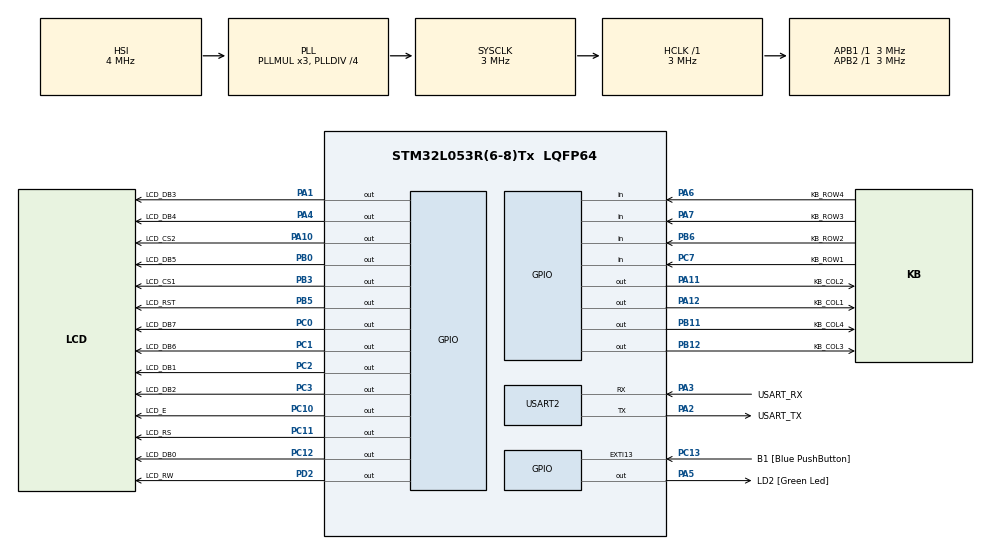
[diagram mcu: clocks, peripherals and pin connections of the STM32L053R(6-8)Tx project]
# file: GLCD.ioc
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Mcu.Family=STM32L0
Mcu.Name=STM32L053R(6-8)Tx
Mcu.Package=LQFP64
PA1.GPIO_Label=LCD_DB3
PA1.Signal=GPIO_Output
PA10.GPIO_Label=LCD_CS2
PA10.Signal=GPIO_Output
PA11.GPIO_Label=KB_COL2
PA11.Signal=GPIO_Output
PA12.GPIO_Label=KB_COL1
PA12.Signal=GPIO_Output
PA13.GPIO_Label=TMS
PA13.Mode=Serial_Wire
PA13.Signal=SYS_SWDIO
PA14.GPIO_Label=TCK
PA14.Mode=Serial_Wire
PA14.Signal=SYS_SWCLK
PA2.GPIO_Label=USART_TX
PA2.Mode=Asynchronous
PA2.Signal=USART2_TX
PA3.GPIO_Label=USART_RX
PA3.Mode=Asynchronous
PA3.Signal=USART2_RX
PA4.GPIO_Label=LCD_DB4
PA4.Signal=GPIO_Output
PA5.GPIO_Label=LD2 [Green Led]
PA5.Signal=GPIO_Output
PA6.GPIO_Label=KB_ROW4
PA6.GPIO_PuPd=GPIO_PULLDOWN
PA6.Signal=GPIO_Input
PA7.GPIO_Label=KB_ROW3
PA7.GPIO_PuPd=GPIO_PULLDOWN
PA7.Signal=GPIO_Input
PB0.GPIO_Label=LCD_DB5
PB0.Signal=GPIO_Output
PB11.GPIO_Label=KB_COL4
PB11.Signal=GPIO_Output
PB12.GPIO_Label=KB_COL3
PB12.Signal=GPIO_Output
PB3.GPIO_Label=LCD_CS1
PB3.Signal=GPIO_Output
PB5.GPIO_Label=LCD_RST
PB5.Signal=GPIO_Output
PB6.GPIO_Label=KB_ROW2
PB6.GPIO_PuPd=GPIO_PULLDOWN
PB6.Signal=GPIO_Input
PC0.GPIO_Label=LCD_DB7
PC0.Signal=GPIO_Output
PC1.GPIO_Label=LCD_DB6
PC1.Signal=GPIO_Output
PC10.GPIO_Label=LCD_E
PC10.Signal=GPIO_Output
PC11.GPIO_Label=LCD_RS
PC11.Signal=GPIO_Output
PC12.GPIO_Label=LCD_DB0
PC12.Signal=GPIO_Output
PC13.GPIO_Label=B1 [Blue PushButton]
PC13.GPIO_ModeDefaultEXTI=GPIO_MODE_IT_FALLING
PC13.Signal=GPXTI13
PC14-OSC32_IN.Mode=LSE-External-Oscillator
PC14-OSC32_IN.Signal=RCC_OSC32_IN
PC15-OSC32_OUT.Mode=LSE-External-Oscillator
PC15-OSC32_OUT.Signal=RCC_OSC32_OUT
PC2.GPIO_Label=LCD_DB1
PC2.Signal=GPIO_Output
PC3.GPIO_Label=LCD_DB2
PC3.Signal=GPIO_Output
PC7.GPIO_Label=KB_ROW1
PC7.GPIO_PuPd=GPIO_PULLDOWN
PC7.Signal=GPIO_Input
PD2.GPIO_Label=LCD_RW
PD2.Signal=GPIO_Output
PH0-OSC_IN.Mode=HSE-External-Clock-Source
PH0-OSC_IN.Signal=RCC_OSC_IN
PH1-OSC_OUT.Signal=RCC_OSC_OUT
ProjectManager.HeapSize=0x200
ProjectManager.StackSize=0x400
ProjectManager.TargetToolchain=MDK-ARM V5.27
RCC.ADCFreq_Value=4000000
RCC.AHBFreq_Value=3000000
RCC.APB1Freq_Value=3000000
RCC.APB1TimFreq_Value=3000000
RCC.APB2Freq_Value=3000000
RCC.APB2TimFreq_Value=3000000
RCC.HCLKFreq_Value=3000000
RCC.HSE_VALUE=8000000
RCC.HSI16_VALUE=16000000
RCC.HSI48_VALUE=48000000
RCC.HSIRCDiv=4
RCC.HSI_VALUE=4000000
RCC.MSI_VALUE=2097000
RCC.PLLDIV=RCC_PLLDIV_4
RCC.SYSCLKFreq_VALUE=3000000
RCC.SYSCLKSource=RCC_SYSCLKSOURCE_PLLCLK
RCC.VCOOutputFreq_Value=12000000
USART2.VirtualMode-Asynchronous=VM_ASYNC
board=NUCLEO-L053R8

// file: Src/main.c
/* USER CODE BEGIN Header */
/**
  ******************************************************************************
  * @file           : main.c
  * @brief          : Main program body
  ******************************************************************************
  * @attention
  *
  * <h2><center>&copy; Copyright (c) 2021 STMicroelectronics.
  * All rights reserved.</center></h2>
  *
  * This software component is licensed by ST under BSD 3-Clause license,
  * the "License"; You may not use this file except in compliance with the
  * License. You may obtain a copy of the License at:
  *                        opensource.org/licenses/BSD-3-Clause
  *
  ******************************************************************************
  */
/* USER CODE END Header */

#include "main.h"
#include "usart.h"
#include "gpio.h"

/* USER CODE BEGIN PD */
#define INSTRUCTION 			0
#define DATA 							1
#define RESET 						GPIO_PIN_RESET
#define SET 							GPIO_PIN_SET
#define PAGE0 						0
#define PAGE1							1
#define ON	 							1
#define OFF 							0
/* USER CODE END PD */

/* USER CODE BEGIN PV */
uint8_t loadingImage_bgBlack [8][128] = {
    {0x00, 0xfe, 0xfe, 0x06, 0x06, 0x06, 0x06, 0x06, 0x06, 0x06, 0x06, 0x06, 0x06, 0x06, 0x06, 0x06, 0x06, 0x06, 0x06, 0x06, 0x06, 0x06, 0x06, 0x06, 0x06, 0x06, 0x06, 0x06, 0x06, 0x06, 0x06, 0x06,0x06, 0x06, 0x06, 0x06, 0x06, 0x06, 0x06, 0x06, 0x06, 0x06, 0x06, 0x06, 0x06, 0x06, 0x06, 0x06, 0x06, 0x06, 0x06, 0x06, 0x06, 0x06, 0x06, 0x06, 0x06, 0x06, 0x06, 0x06, 0x06, 0x06, 0x06, 0x06, 0x06, 0x06, 0x06, 0x06, 0x06, 0x06, 0x06, 0x06, 0x06, 0x06, 0x06, 0x06, 0x06, 0x06, 0x06, 0x06, 0x06, 0x06, 0x06, 0x06, 0x06, 0x06, 0x06, 0x06, 0x06, 0x06, 0x06, 0x06, 0x06, 0x06, 0x06, 0x06, 0x06, 0x06, 0x06, 0x06, 0x06, 0x06, 0x06, 0x06, 0x06, 0x06, 0x06, 0x06, 0x06, 0x06, 0x06, 0x06, 0x06, 0x06, 0x06, 0x06, 0x06, 0x06, 0x06, 0x06, 0x06, 0x06, 0x06, 0x06, 0x06, 0xfe, 0xfe, 0x00},
    {0x00, 0xff, 0xff, 0x00, 0x00, 0x00, 0x00, 0x00, 0x00, 0x00, 0x00, 0x00, 0x00, 0x00, 0x00, 0x00, 0x00, 0x00, 0x00, 0x00, 0x00, 0x00, 0x00, 0x00, 0x00, 0x00, 0x00, 0x00, 0x00, 0x00, 0x00, 0x00, 0x00, 0x00, 0x00, 0x00, 0x00, 0x00, 0x00, 0x00, 0x00, 0x00, 0x00, 0x00, 0x00, 0x00, 0x00, 0x00, 0x00, 0x00, 0x00, 0x00, 0x00, 0x00, 0x00, 0x00, 0x00, 0x00, 0x00, 0x00, 0x00, 0x00, 0x00, 0x00, 0x00, 0x00, 0x00, 0x00, 0x00, 0x00, 0x00, 0x00, 0x00, 0x00, 0x00, 0x00, 0x00, 0x00, 0x00, 0x00, 0x00, 0x00, 0x00, 0x00, 0x00, 0x00, 0x00, 0x00, 0x00, 0x00, 0x00, 0x00, 0x00, 0x00, 0x00, 0x00, 0x00, 0x00, 0x00, 0x00, 0x00, 0x00, 0x00, 0x00, 0x00, 0x00, 0x00, 0x00, 0x00, 0x00, 0x00, 0x00, 0x00, 0x00, 0x00, 0x00, 0x00, 0x00, 0x00, 0x00, 0x00, 0x00, 0x00, 0x00, 0x00, 0xff, 0xff, 0x00},
    {0x00, 0xff, 0xff, 0x00, 0x00, 0x00, 0x00, 0x00, 0x00, 0x00, 0x00, 0x00, 0x00, 0x00, 0x00, 0x00, 0x00, 0x00, 0x00, 0x00, 0x00, 0x00, 0x00, 0x00, 0x00, 0x00, 0x00, 0x00, 0x00, 0x00, 0x00, 0x00, 0x00, 0x00, 0x00, 0x00, 0x00, 0x00, 0x00, 0x00, 0x00, 0x00, 0x00, 0x00, 0x00, 0x00, 0x00, 0x00, 0x00, 0x00, 0x00, 0x00, 0x00, 0x00, 0x00, 0x00, 0x00, 0x00, 0x00, 0x00, 0x00, 0x00, 0x00, 0x00, 0x00, 0x00, 0x00, 0x00, 0x00, 0x00, 0x00, 0x00, 0x00, 0x00, 0x00, 0x00, 0x00, 0x00, 0x00, 0x00, 0x00, 0x00, 0x00, 0x00, 0x00, 0x00, 0x00, 0x00, 0x00, 0x00, 0x00, 0x00, 0x00, 0x00, 0x00, 0x00, 0x00, 0x00, 0x00, 0x00, 0x00, 0x00, 0x00, 0x00, 0x00, 0x00, 0x00, 0x00, 0x00, 0x00, 0x00, 0x00, 0x00, 0x00, 0x00, 0x00, 0x00, 0x00, 0x00, 0x00, 0x00, 0x00, 0x00, 0x00, 0x00, 0xff, 0xff, 0x00},
    {0x00, 0xff, 0xff, 0x00, 0x00, 0x00, 0x00, 0x00, 0x00, 0x00, 0x00, 0x00, 0x00, 0x00, 0x00, 0x00, 0x00, 0x00, 0x00, 0x00, 0x00, 0x00, 0x00, 0x00, 0x00, 0x00, 0x00, 0x00, 0x00, 0x00, 0x00, 0x00, 0x00, 0x00, 0x00, 0x00, 0x00, 0x00, 0x00, 0x00, 0x00, 0x00, 0x00, 0x00, 0x00, 0x00, 0x00, 0x00, 0x00, 0x00, 0x00, 0x00, 0x00, 0x00, 0x00, 0x00, 0x00, 0x00, 0x00, 0x00, 0x00, 0x00, 0x00, 0x00, 0x00, 0x00, 0x00, 0x00, 0x00, 0x00, 0x00, 0x00, 0x00, 0x00, 0x00, 0x00, 0x00, 0x00, 0x00, 0x00, 0x00, 0x00, 0x00, 0x00, 0x00, 0x00, 0x00, 0x00, 0x00, 0x00, 0x00, 0x00, 0x00, 0x00, 0x00, 0x00, 0x00, 0x00, 0x00, 0x00, 0x00, 0x00, 0x00, 0x00, 0x00, 0x00, 0x00, 0x00, 0x00, 0x00, 0x00, 0x00, 0x00, 0x00, 0x00, 0x00, 0x00, 0x00, 0x00, 0x00, 0x00, 0x00, 0x00, 0x00, 0x00, 0xff, 0xff, 0x00},
    {0x00, 0xff, 0xff, 0x00, 0x00, 0x00, 0x00, 0x00, 0x00, 0x00, 0x00, 0x00, 0x00, 0x00, 0x00, 0x00, 0x00, 0x00, 0x00, 0x00, 0x00, 0x00, 0x00, 0x00, 0x00, 0x00, 0x00, 0x00, 0x00, 0x00, 0x00, 0x00, 0x00, 0x00, 0x00, 0x00, 0x00, 0x00, 0x00, 0x00, 0x00, 0x00, 0x00, 0x00, 0x00, 0x00, 0x00, 0x00, 0x00, 0x00, 0x00, 0x00, 0x00, 0x00, 0x00, 0x00, 0x00, 0x00, 0x00, 0x00, 0x00, 0x00, 0x00, 0x00, 0x00, 0x00, 0x00, 0x00, 0x00, 0x00, 0x00, 0x00, 0x00, 0x00, 0x00, 0x00, 0x00, 0x00, 0x00, 0x00, 0x00, 0x00, 0x00, 0x00, 0x00, 0x00, 0x00, 0x00, 0x00, 0x00, 0x00, 0x00, 0x00, 0x00, 0x00, 0x00, 0x00, 0x00, 0x00, 0x00, 0x00, 0x00, 0x00, 0x00, 0x00, 0x00, 0x00, 0x00, 0x00, 0x00, 0x00, 0x00, 0x00, 0x00, 0x00, 0x00, 0x00, 0x00, 0x00, 0x00, 0x00, 0x00, 0x00, 0x00, 0x00, 0xff, 0xff, 0x00},
    {0x00, 0xff, 0xff, 0x00, 0x00, 0x00, 0x00, 0x00, 0x00, 0x00, 0x00, 0x00, 0x00, 0x00, 0x00, 0x00, 0x00, 0x7c, 0x40, 0x40, 0x40, 0x00, 0x38, 0x44, 0x44, 0x38, 0x00, 0x78, 0x14, 0x14, 0x78, 0x00, 0x7c, 0x44, 0x44, 0x38, 0x00, 0x44, 0x7c, 0x44, 0x00, 0x7c, 0x08, 0x10, 0x7c, 0x00, 0x38, 0x44, 0x54, 0x30, 0x00, 0x00, 0x40, 0x00, 0x00, 0x00, 0x40, 0x00, 0x00, 0x00, 0x40, 0x00, 0x00, 0x00, 0x40, 0x00, 0x00, 0x00, 0x40, 0x00, 0x00, 0x00, 0x40, 0x00, 0x00, 0x00, 0x00, 0x00, 0x00, 0x00, 0x00, 0x00, 0x00, 0x00, 0x00, 0x00, 0x00, 0x00, 0x00, 0x00, 0x00, 0x00, 0x00, 0x00, 0x00, 0x00, 0x00, 0x00, 0x00, 0x00, 0x00, 0x00, 0x00, 0x00, 0x00, 0x00, 0x00, 0x00, 0x00, 0x00, 0x00, 0x00, 0x00, 0x00, 0x00, 0x00, 0x00, 0x00, 0x00, 0x00, 0x00, 0x00, 0x00, 0x00, 0x00, 0xff, 0xff, 0x00},
    {0x00, 0xff, 0xff, 0x00, 0x00, 0x00, 0x00, 0x00, 0x00, 0x00, 0x00, 0x00, 0x00, 0x00, 0x00, 0x00, 0xfc, 0xfc, 0x8c, 0x8c, 0x8c, 0x8c, 0x8c, 0x8c, 0x8c, 0x8c, 0x8c, 0x8c, 0x8c, 0x8c, 0x8c, 0x8c, 0x8c, 0x8c, 0x8c, 0x8c, 0x8c, 0x8c, 0x8c, 0x8c, 0x8c, 0x8c, 0x8c, 0x8c, 0x8c, 0x8c, 0x8c, 0x8c, 0x8c, 0x8c, 0x8c, 0x8c, 0x8c, 0x8c, 0x8c, 0x8c, 0x8c, 0x8c, 0x8c, 0x8c, 0x8c, 0x8c, 0x8c, 0x8c, 0x8c, 0x8c, 0x8c, 0x8c, 0x8c, 0x8c, 0x8c, 0x8c, 0x8c, 0x8c, 0x8c, 0x8c, 0x8c, 0x8c, 0x8c, 0x8c, 0x8c, 0x8c, 0x8c, 0x8c, 0x8c, 0x8c, 0x8c, 0x8c, 0x8c, 0x8c, 0x8c, 0x8c, 0x8c, 0x8c, 0x8c, 0x8c, 0x8c, 0x8c, 0x8c, 0x8c, 0x8c, 0x8c, 0x8c, 0x8c, 0x8c, 0x8c, 0x8c, 0x8c, 0x8c, 0x8c, 0x8c, 0x8c, 0xfc, 0xfc, 0x00, 0x00, 0x00, 0x00, 0x00, 0x00, 0x00, 0x00, 0x00, 0x00, 0x00, 0xff, 0xff, 0x00},
    {0x00, 0x7f, 0x7f, 0x60, 0x60, 0x60, 0x60, 0x60, 0x60, 0x60, 0x60, 0x60, 0x60, 0x60, 0x60, 0x60, 0x61, 0x61, 0x61, 0x61, 0x61, 0x61, 0x61, 0x61, 0x61, 0x61, 0x61, 0x61, 0x61, 0x61, 0x61, 0x61, 0x61, 0x61, 0x61, 0x61, 0x61, 0x61, 0x61, 0x61, 0x61, 0x61, 0x61, 0x61, 0x61, 0x61, 0x61, 0x61, 0x61, 0x61, 0x61, 0x61, 0x61, 0x61, 0x61, 0x61, 0x61, 0x61, 0x61, 0x61, 0x61, 0x61, 0x61, 0x61, 0x61, 0x61, 0x61, 0x61, 0x61, 0x61, 0x61, 0x61, 0x61, 0x61, 0x61, 0x61, 0x61, 0x61, 0x61, 0x61, 0x61, 0x61, 0x61, 0x61, 0x61, 0x61, 0x61, 0x61, 0x61, 0x61, 0x61, 0x61, 0x61, 0x61, 0x61, 0x61, 0x61, 0x61, 0x61, 0x61, 0x61, 0x61, 0x61, 0x61, 0x61, 0x61, 0x61, 0x61, 0x61, 0x61, 0x61, 0x61, 0x61, 0x61, 0x60, 0x60, 0x60, 0x60, 0x60, 0x60, 0x60, 0x60, 0x60, 0x60, 0x60, 0x7f, 0x7f, 0x00}
};

uint8_t titleImage_bgBlack [8][128] = {
    {0x00, 0xfe, 0xfe, 0x06, 0x06, 0x06, 0x06, 0x06, 0x06, 0x06, 0x06, 0x06, 0x06, 0x06, 0x06, 0x06, 0x06, 0x06, 0x06, 0x06, 0x06, 0x06, 0x06, 0x06, 0x06, 0x06, 0x06, 0x06, 0x06, 0x06, 0x06, 0x06, 0x06, 0x06, 0x06, 0x06, 0x06, 0x06, 0x06, 0x06, 0x06, 0x06, 0x06, 0x06, 0x06, 0x06, 0x06, 0x06, 0x06, 0x06, 0x06, 0x06, 0x06, 0x06, 0x06, 0x06, 0x06, 0x06, 0x06, 0x06, 0x06, 0x06, 0x06, 0x06, 0x06, 0x06, 0x06, 0x06, 0x06, 0x06, 0x06, 0x86, 0x86, 0x06, 0x06, 0x06, 0x06, 0x06, 0x06, 0x06, 0x06, 0x06, 0x06, 0x06, 0x06, 0x06, 0x06, 0x06, 0x06, 0x06, 0x06, 0x06, 0x06, 0x06, 0x06, 0x06, 0x06, 0x06, 0x06, 0x06, 0x06, 0x06, 0x06, 0x06, 0x06, 0x06, 0x06, 0x06, 0x06, 0x06, 0x06, 0x06, 0x06, 0x06, 0x06, 0x06, 0x06, 0x06, 0x06, 0x06, 0x06, 0x06, 0x06, 0x06, 0x06, 0xfe, 0xfe, 0x00},
    {0x00, 0xff, 0xff, 0x00, 0x00, 0x00, 0x00, 0x00, 0x00, 0x00, 0x00, 0x00, 0x00, 0x00, 0x00, 0x00, 0x00, 0x00, 0x00, 0x00, 0x00, 0x00, 0x00, 0x00, 0x00, 0x00, 0x00, 0x00, 0x00, 0x00, 0x00, 0x00, 0x00, 0x00, 0x00, 0x00, 0x00, 0x00, 0x00, 0x00, 0x00, 0x00, 0x00, 0x00, 0x00, 0x00, 0x00, 0x00, 0x00, 0x00, 0x00, 0x00, 0x00, 0xfe, 0xfe, 0x00, 0x00, 0x00, 0x00, 0xf0, 0xf0, 0x00, 0x00, 0x00, 0x00, 0xc0, 0xc0, 0x00, 0x00, 0x00, 0x00, 0xff, 0xff, 0x00, 0x00, 0x00, 0x00, 0x00, 0x00, 0x00, 0x00, 0x00, 0x00, 0x00, 0x00, 0x00, 0x00, 0x00, 0x00, 0x00, 0x00, 0x00, 0x00, 0x00, 0x00, 0x00, 0x00, 0x00, 0x00, 0x00, 0x00, 0x00, 0x00, 0x00, 0x00, 0x00, 0x00, 0x00, 0x00, 0x00, 0x00, 0x00, 0x00, 0x00, 0x00, 0x00, 0x00, 0x00, 0x00, 0x00, 0x00, 0x00, 0x00, 0x00, 0x00, 0xff, 0xff, 0x00},
    {0x00, 0xff, 0xff, 0x00, 0x00, 0x00, 0x00, 0x00, 0x00, 0x00, 0x00, 0x00, 0x00, 0x00, 0x00, 0x00, 0x00, 0x00, 0x00, 0x00, 0x00, 0x00, 0x00, 0x00, 0x00, 0x00, 0x00, 0x00, 0x00, 0x00, 0x00, 0x00, 0x00, 0x00, 0x00, 0x00, 0x00, 0x00, 0x00, 0x00, 0x00, 0x00, 0x00, 0xc0, 0xc0, 0xc0, 0xc0, 0xc0, 0xc0, 0xfc, 0xfc, 0x0c, 0x0c, 0x0f, 0x0f, 0x0c, 0x0c, 0x0c, 0x0c, 0x0f, 0x0f, 0x0c, 0x0c, 0x0c, 0x0c, 0x0f, 0x0f, 0x0c, 0x0c, 0x0c, 0x0c, 0x0f, 0x0f, 0x0c, 0x0c, 0xfc, 0xfc, 0xc0, 0xc0, 0xc0, 0xc0, 0x00, 0x00, 0x00, 0x00, 0x00, 0x00, 0x00, 0x00, 0x00, 0x00, 0x00, 0x00, 0x00, 0x00, 0x00, 0x00, 0x00, 0x00, 0x00, 0x00, 0x00, 0x00, 0x00, 0x00, 0x00, 0x00, 0x00, 0x00, 0x00, 0x00, 0x00, 0x00, 0x00, 0x00, 0x00, 0x00, 0x00, 0x00, 0x00, 0x00, 0x00, 0x00, 0x00, 0x00, 0xff, 0xff, 0x00},
    {0x00, 0xff, 0xff, 0x00, 0x00, 0x00, 0x00, 0x00, 0x00, 0x00, 0x00, 0x00, 0x00, 0x00, 0x00, 0x00, 0x00, 0x00, 0x00, 0x00, 0x00, 0x00, 0x00, 0x00, 0x00, 0x00, 0x00, 0x00, 0x00, 0x00, 0x00, 0x00, 0x00, 0x00, 0x00, 0x00, 0x00, 0x30, 0x30, 0x30, 0x30, 0x30, 0x30, 0x30, 0x30, 0x30, 0x30, 0x30, 0x30, 0xff, 0xff, 0x00, 0x00, 0x00, 0x00, 0x00, 0x00, 0x00, 0x00, 0x00, 0x00, 0x00, 0x00, 0x00, 0x00, 0x00, 0x00, 0x00, 0x00, 0x00, 0x00, 0x00, 0x00, 0x00, 0x00, 0xff, 0xff, 0x30, 0x30, 0x30, 0x30, 0x30, 0x30, 0x30, 0x30, 0x30, 0x00, 0x00, 0x00, 0x00, 0x00, 0x00, 0x00, 0x00, 0x00, 0x00, 0x00, 0x00, 0x00, 0x00, 0x00, 0x00, 0x00, 0x00, 0x00, 0x00, 0x00, 0x00, 0x00, 0x00, 0x00, 0x00, 0x00, 0x00, 0x00, 0x00, 0x00, 0x00, 0x00, 0x00, 0x00, 0x00, 0x00, 0x00, 0x00, 0xff, 0xff, 0x00},
    {0x00, 0xff, 0xff, 0x00, 0x00, 0x00, 0x00, 0x00, 0x00, 0x00, 0x00, 0x00, 0x00, 0x00, 0x00, 0x00, 0x00, 0x00, 0x00, 0x00, 0x00, 0x00, 0x00, 0x00, 0x00, 0x00, 0x00, 0x00, 0x00, 0x00, 0x00, 0x00, 0x00, 0x00, 0x00, 0x00, 0x00, 0x00, 0x00, 0x00, 0x00, 0x00, 0x00, 0x00, 0x0c, 0x0c, 0x0c, 0x0c, 0x0c, 0xff, 0xff, 0x00, 0x00, 0xc0, 0xc0, 0xc0, 0xc0, 0x00, 0x00, 0x00, 0x00, 0x00, 0x00, 0x00, 0x00, 0x00, 0x00, 0x00, 0x00, 0x00, 0x00, 0x00, 0x00, 0x00, 0x00, 0xff, 0xff, 0x0c, 0x0c, 0x0c, 0x0c, 0x0c, 0x0c, 0x0c, 0x0c, 0x0c, 0x0c, 0x0c, 0x0c, 0x0c, 0x0c, 0x0c, 0x0c, 0x00, 0x00, 0x00, 0x00, 0x00, 0x00, 0x00, 0x00, 0x00, 0x00, 0x00, 0x00, 0x00, 0x00, 0x00, 0x00, 0x00, 0x00, 0x00, 0x00, 0x00, 0x00, 0x00, 0x00, 0x00, 0x00, 0x00, 0x00, 0x00, 0x00, 0x00, 0x00, 0xff, 0xff, 0x00},
    {0x00, 0xff, 0xff, 0x00, 0x00, 0x00, 0x00, 0x00, 0x00, 0x00, 0x00, 0x00, 0x00, 0x00, 0x00, 0x00, 0x00, 0x00, 0x00, 0x00, 0x00, 0x00, 0x00, 0x00, 0x00, 0x00, 0x00, 0x00, 0x00, 0x00, 0x00, 0x00, 0x00, 0x00, 0x00, 0x00, 0x00, 0x00, 0x00, 0x00, 0x00, 0x00, 0x00, 0x00, 0x00, 0x00, 0x00, 0x03, 0x03, 0x3f, 0x3f, 0x30, 0x30, 0xf3, 0xf3, 0x33, 0x33, 0x30, 0x30, 0xf0, 0xf0, 0x30, 0x30, 0x30, 0x30, 0xf0, 0xf0, 0x30, 0x30, 0x30, 0x30, 0xf0, 0xf0, 0x30, 0x30, 0x3f, 0x3f, 0x03, 0x03, 0x03, 0x03, 0x03, 0x03, 0x03, 0x03, 0x00, 0x00, 0x00, 0x00, 0x00, 0x00, 0x00, 0x00, 0x00, 0x00, 0x00, 0x00, 0x00, 0x00, 0x00, 0x00, 0x00, 0x00, 0x00, 0x00, 0x00, 0x00, 0x00, 0x00, 0x00, 0x00, 0x00, 0x00, 0x00, 0x00, 0x00, 0x00, 0x00, 0x00, 0x00, 0x00, 0x00, 0x00, 0x00, 0x00, 0xff, 0xff, 0x00},
    {0x00, 0xff, 0xff, 0x00, 0x00, 0x00, 0x00, 0x00, 0x00, 0x00, 0x00, 0x00, 0x00, 0x00, 0x00, 0x00, 0x00, 0x00, 0x00, 0x00, 0x00, 0x00, 0x00, 0x00, 0x00, 0x00, 0x00, 0x00, 0x00, 0x00, 0x00, 0x00, 0x00, 0x00, 0x00, 0x00, 0x00, 0x00, 0x00, 0x00, 0x00, 0x00, 0x00, 0x00, 0x00, 0x00, 0x00, 0x00, 0x00, 0x00, 0x00, 0x00, 0x00, 0x1f, 0x1f, 0x00, 0x00, 0x00, 0x00, 0x7f, 0x7f, 0x00, 0x00, 0x00, 0x00, 0x7f, 0x7f, 0x00, 0x00, 0x00, 0x00, 0x07, 0x07, 0x00, 0x00, 0x00, 0x00, 0x00, 0x00, 0x00, 0x00, 0x00, 0x00, 0x00, 0x00, 0xc0, 0x40, 0x40, 0x80, 0x00, 0xc0, 0x00, 0x00, 0x00, 0xc0, 0x00, 0x00, 0x00, 0xc0, 0x00, 0x00, 0x00, 0xc0, 0x00, 0x40, 0xc0, 0x40, 0x00, 0x40, 0x40, 0xc0, 0x40, 0x40, 0x00, 0x80, 0x40, 0x40, 0x80, 0x00, 0xc0, 0x40, 0x40, 0x80, 0x00, 0x00, 0xff, 0xff, 0x00},
    {0x00, 0x7f, 0x7f, 0x60, 0x60, 0x60, 0x60, 0x60, 0x60, 0x60, 0x60, 0x60, 0x60, 0x60, 0x60, 0x60, 0x60, 0x60, 0x60, 0x60, 0x60, 0x60, 0x60, 0x60, 0x60, 0x60, 0x60, 0x60, 0x60, 0x60, 0x60, 0x60, 0x60, 0x60, 0x60, 0x60, 0x60, 0x60, 0x60, 0x60, 0x60, 0x60, 0x60, 0x60, 0x60, 0x60, 0x60, 0x60, 0x60, 0x60, 0x60, 0x60, 0x60, 0x60, 0x60, 0x60, 0x60, 0x60, 0x60, 0x60, 0x60, 0x60, 0x60, 0x60, 0x60, 0x60, 0x60, 0x60, 0x60, 0x60, 0x60, 0x60, 0x60, 0x60, 0x60, 0x60, 0x60, 0x60, 0x60, 0x60, 0x60, 0x60, 0x60, 0x60, 0x60, 0x67, 0x65, 0x65, 0x62, 0x60, 0x60, 0x61, 0x67, 0x61, 0x60, 0x60, 0x60, 0x60, 0x60, 0x63, 0x64, 0x63, 0x60, 0x60, 0x64, 0x67, 0x64, 0x60, 0x60, 0x60, 0x67, 0x60, 0x60, 0x60, 0x63, 0x64, 0x64, 0x63, 0x60, 0x67, 0x61, 0x63, 0x64, 0x60, 0x60, 0x7f, 0x7f, 0x00}
};
/* USER CODE END PV */

void SystemClock_Config(void);

/* USER CODE BEGIN 0 */
void glcd_init(void);
void glcd_writeByte(uint8_t chip, uint8_t rs, uint8_t data);
void glcd_displayStatus(uint8_t status);
void glcd_fillScreen(uint8_t pixelStatus);
void glcd_drawImage(uint8_t imageArr[8][128]);
void glcd_loadingBar(void);
/* USER CODE END 0 */

int main(void)
{

  /* MCU Configuration--------------------------------------------------------*/

  /* Reset of all peripherals, Initializes the Flash interface and the Systick. */
  HAL_Init();

  /* Configure the system clock */
  SystemClock_Config();

  /* Initialize all configured peripherals */
  MX_GPIO_Init();
  MX_USART2_UART_Init();
  /* USER CODE BEGIN 2 */
	glcd_init();
	glcd_drawImage(loadingImage_bgBlack);
	glcd_loadingBar();
	glcd_drawImage(titleImage_bgBlack);
  /* USER CODE END 2 */

  /* Infinite loop */
  while (1)
  {

  }
}

void SystemClock_Config(void)
{
  RCC_OscInitTypeDef RCC_OscInitStruct = {0};
  RCC_ClkInitTypeDef RCC_ClkInitStruct = {0};
  RCC_PeriphCLKInitTypeDef PeriphClkInit = {0};

  /** Configure the main internal regulator output voltage
  */
  __HAL_PWR_VOLTAGESCALING_CONFIG(PWR_REGULATOR_VOLTAGE_SCALE1);
  /** Initializes the CPU, AHB and APB busses clocks
  */
  RCC_OscInitStruct.OscillatorType = RCC_OSCILLATORTYPE_HSI;
  RCC_OscInitStruct.HSIState = RCC_HSI_DIV4;
  RCC_OscInitStruct.HSICalibrationValue = RCC_HSICALIBRATION_DEFAULT;
  RCC_OscInitStruct.PLL.PLLState = RCC_PLL_ON;
  RCC_OscInitStruct.PLL.PLLSource = RCC_PLLSOURCE_HSI;
  RCC_OscInitStruct.PLL.PLLMUL = RCC_PLLMUL_3;
  RCC_OscInitStruct.PLL.PLLDIV = RCC_PLLDIV_4;
  if (HAL_RCC_OscConfig(&RCC_OscInitStruct) != HAL_OK)
  {
    Error_Handler();
  }
  /** Initializes the CPU, AHB and APB busses clocks
  */
  RCC_ClkInitStruct.ClockType = RCC_CLOCKTYPE_HCLK|RCC_CLOCKTYPE_SYSCLK
                              |RCC_CLOCKTYPE_PCLK1|RCC_CLOCKTYPE_PCLK2;
  RCC_ClkInitStruct.SYSCLKSource = RCC_SYSCLKSOURCE_PLLCLK;
  RCC_ClkInitStruct.AHBCLKDivider = RCC_SYSCLK_DIV1;
  RCC_ClkInitStruct.APB1CLKDivider = RCC_HCLK_DIV1;
  RCC_ClkInitStruct.APB2CLKDivider = RCC_HCLK_DIV1;

  if (HAL_RCC_ClockConfig(&RCC_ClkInitStruct, FLASH_LATENCY_0) != HAL_OK)
  {
    Error_Handler();
  }
  PeriphClkInit.PeriphClockSelection = RCC_PERIPHCLK_USART2;
  PeriphClkInit.Usart2ClockSelection = RCC_USART2CLKSOURCE_PCLK1;
  if (HAL_RCCEx_PeriphCLKConfig(&PeriphClkInit) != HAL_OK)
  {
    Error_Handler();
  }
}

/* USER CODE BEGIN 4 */
void glcd_init(void) {
	HAL_GPIO_WritePin(LCD_RST_GPIO_Port, LCD_RST_Pin, SET);
	HAL_GPIO_WritePin(LCD_CS1_GPIO_Port, LCD_CS1_Pin, RESET);
	HAL_GPIO_WritePin(LCD_CS2_GPIO_Port, LCD_CS2_Pin, RESET);
	HAL_GPIO_WritePin(LCD_E_GPIO_Port, LCD_E_Pin, RESET);
	HAL_GPIO_WritePin(LCD_RS_GPIO_Port, LCD_RS_Pin, RESET);
	HAL_GPIO_WritePin(LCD_RW_GPIO_Port, LCD_RW_Pin, RESET);

	glcd_writeByte(PAGE0, INSTRUCTION, 0xc0);
	glcd_writeByte(PAGE1, INSTRUCTION, 0xc0);
	glcd_writeByte(PAGE0, INSTRUCTION, 0x3e);
	glcd_writeByte(PAGE1, INSTRUCTION, 0x3e);
}

void glcd_writeByte(uint8_t chip, uint8_t rs, uint8_t data) {

	if(chip == PAGE0) {
		HAL_GPIO_WritePin(LCD_CS1_GPIO_Port, LCD_CS1_Pin, SET);
	} else {
		HAL_GPIO_WritePin(LCD_CS2_GPIO_Port, LCD_CS2_Pin, SET);
	}

	HAL_GPIO_WritePin(LCD_RS_GPIO_Port, LCD_RS_Pin, (rs == DATA ? SET:RESET));
	HAL_GPIO_WritePin(LCD_RW_GPIO_Port, LCD_RW_Pin, RESET);

	HAL_GPIO_WritePin(LCD_DB0_GPIO_Port, LCD_DB0_Pin, ((data & 0x01) == 0x01 ? SET:RESET));
	HAL_GPIO_WritePin(LCD_DB1_GPIO_Port, LCD_DB1_Pin, ((data & 0x02) == 0x02 ? SET:RESET));
	HAL_GPIO_WritePin(LCD_DB2_GPIO_Port, LCD_DB2_Pin, ((data & 0x04) == 0x04 ? SET:RESET));
	HAL_GPIO_WritePin(LCD_DB3_GPIO_Port, LCD_DB3_Pin, ((data & 0x08) == 0x08 ? SET:RESET));
	HAL_GPIO_WritePin(LCD_DB4_GPIO_Port, LCD_DB4_Pin, ((data & 0x10) == 0x10 ? SET:RESET));
	HAL_GPIO_WritePin(LCD_DB5_GPIO_Port, LCD_DB5_Pin, ((data & 0x20) == 0x20 ? SET:RESET));
	HAL_GPIO_WritePin(LCD_DB6_GPIO_Port, LCD_DB6_Pin, ((data & 0x40) == 0x40 ? SET:RESET));
	HAL_GPIO_WritePin(LCD_DB7_GPIO_Port, LCD_DB7_Pin, ((data & 0x80) == 0x80 ? SET:RESET));

	HAL_GPIO_WritePin(LCD_E_GPIO_Port, LCD_E_Pin, SET);
	HAL_GPIO_WritePin(LCD_E_GPIO_Port, LCD_E_Pin, RESET);

	HAL_GPIO_WritePin(LCD_CS1_GPIO_Port, LCD_CS1_Pin, RESET);
	HAL_GPIO_WritePin(LCD_CS2_GPIO_Port, LCD_CS2_Pin, RESET);
}

void glcd_displayStatus(uint8_t status) {
	if(status == OFF) {
		glcd_writeByte(PAGE0, INSTRUCTION, 0x3e);
		glcd_writeByte(PAGE1, INSTRUCTION, 0x3e);
	} else if (status == ON) {
		glcd_writeByte(PAGE0, INSTRUCTION, 0x3f);
		glcd_writeByte(PAGE1, INSTRUCTION, 0x3f);
	}
}

void glcd_fillScreen(uint8_t pixelStatus) {
	uint8_t i, j;
	glcd_displayStatus(OFF);
	for(j = 0; j < 8; j++) {
		glcd_writeByte(PAGE0, INSTRUCTION, 0x40);
		glcd_writeByte(PAGE1, INSTRUCTION, 0x40);
		glcd_writeByte(PAGE0, INSTRUCTION, 0xb8 + j);
		glcd_writeByte(PAGE1, INSTRUCTION, 0xb8 + j);
		for(i = 0; i < 64; i++) {
			glcd_writeByte(PAGE0, DATA, 0xff * pixelStatus);
			glcd_writeByte(PAGE1, DATA, 0xff * pixelStatus);
		}
	}
	glcd_displayStatus(ON);
}

void glcd_drawImage(uint8_t imageArr[8][128]) {
	uint8_t i, j;
	glcd_displayStatus(OFF);
	for(j = 0; j < 8; j++) {
		glcd_writeByte(PAGE0, INSTRUCTION, 0x40);
		glcd_writeByte(PAGE0, INSTRUCTION, 0xb8 + j);
		for(i = 0; i < 64; i++) {
			glcd_writeByte(PAGE0, DATA, imageArr[j][i]);
		}

		glcd_writeByte(PAGE1, INSTRUCTION, 0x40);
		glcd_writeByte(PAGE1, INSTRUCTION, 0xb8 + j);
		for(i = 0; i < 64; i++) {
			glcd_writeByte(PAGE1, DATA, imageArr[j][64+i]);
		}
	}
	glcd_displayStatus(ON);
}

void glcd_loadingBar(void) {
	uint8_t i;

	glcd_writeByte(PAGE0, INSTRUCTION, 0x40 + 18);
	glcd_writeByte(PAGE0, INSTRUCTION, 0xbe);
	for(i = 0; i < (64 - 18); i++) {
		glcd_writeByte(PAGE0, DATA, 0xfc);
		HAL_Delay(25);
	}

	glcd_writeByte(PAGE1, INSTRUCTION, 0x40);
	glcd_writeByte(PAGE1, INSTRUCTION, 0xbe);
	for(i = 0; i < (64 - 16); i++) {
		glcd_writeByte(PAGE1, DATA, 0xfc);
		HAL_Delay(25);
	}
}
/* USER CODE END 4 */

void Error_Handler(void)
{
}

/************************ (C) COPYRIGHT STMicroelectronics *****END OF FILE****/
